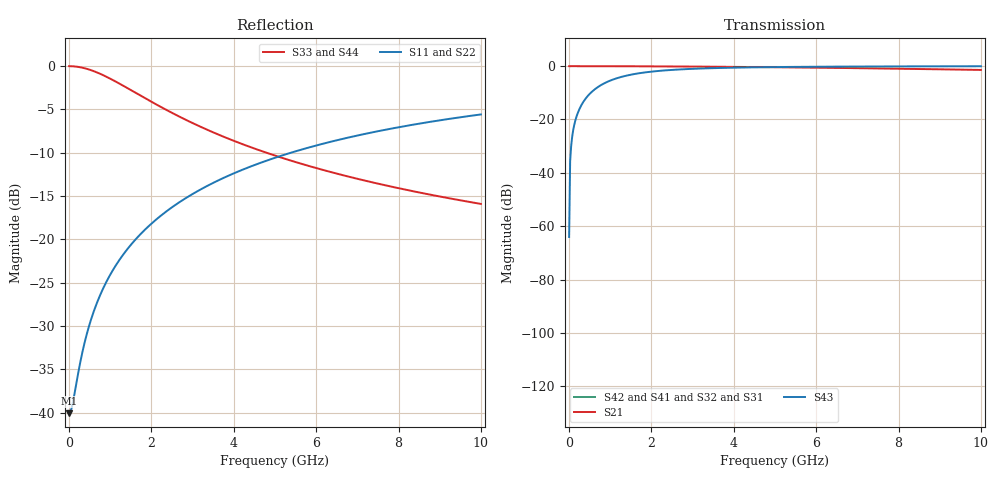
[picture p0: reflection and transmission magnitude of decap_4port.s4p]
! Synthetic 4-port: signal pi (ports 1-2) + decap pi (ports 3-4)
! R_series = 1.0 Ohm, L_series = 1e-09 H
! C_decap = 1e-12 F
! C_shunt = 1e-15 F
! Port[1] = sig_in
! Port[2] = sig_out
! Port[3] = decap_a
! Port[4] = decap_b
# HZ S RI R 50
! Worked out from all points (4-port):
!   401 points, 1 MHz to 10 GHz, reference 50 ohm
!   strongest paths, dB at 1 MHz, 2.501 GHz, 5 GHz, 7.5 GHz, 10 GHz:
!     S43: -64.0, -1.5, -0.4, -0.2, -0.1
!     S21: -0.1, -0.2, -0.5, -0.9, -1.5
!     S42: -, -, -, -, -
!     S41: -, -, -, -, -
!     S32: -, -, -, -, -
!     S31: -, -, -, -, -
!   lowest |S11| = -40.1 dB at 1 MHz (marker M1), VSWR 1.02, Z = 51 + j0.00625 ohm
!   |S11| at or under -10 dB: start of sweep to 5.383 GHz
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1000000  0.0099 6.13e-05  0.9901 -6.19e-05  0 0  0 0
         0.9901 -6.19e-05  0.0099 6.13e-05  0 0  0 0
         0 0  0 0  1 -0.000629  3.95e-07 0.000628
         0 0  0 0  3.95e-07 0.000628  1 -0.000629
7.59925e7  0.00992 0.00466  0.9901 -0.0047  0 0  0 0
           0.9901 -0.0047  0.00992 0.00466  0 0  0 0
           0 0  0 0  0.9977 -0.0477  0.00228 0.0476
           0 0  0 0  0.00228 0.0476  0.9977 -0.0477
2.0098e8  0.0101 0.0123  0.9899 -0.0124  0 0  0 0
          0.9899 -0.0124  0.0101 0.0123  0 0  0 0
          0 0  0 0  0.9843 -0.1244  0.0157 0.1243
          0 0  0 0  0.0157 0.1243  0.9843 -0.1244
5.50945e8  0.0111 0.0337  0.9889 -0.0341  0 0  0 0
           0.9889 -0.0341  0.0111 0.0337  0 0  0 0
           0 0  0 0  0.8929 -0.3094  0.1071 0.3091
           0 0  0 0  0.1071 0.3091  0.8929 -0.3094
1.125888e9  0.0147 0.0687  0.9853 -0.0694  0 0  0 0
            0.9853 -0.0694  0.0147 0.0687  0 0  0 0
            0 0  0 0  0.6662 -0.4719  0.3337 0.4712
            0 0  0 0  0.3337 0.4712  0.6662 -0.4719
3.675632e9  0.0591 0.214  0.9409 -0.2164  0 0  0 0
            0.9409 -0.2164  0.0591 0.214  0 0  0 0
            0 0  0 0  0.1578 -0.3657  0.8422 0.3634
            0 0  0 0  0.8422 0.3634  0.1578 -0.3657
1e10  0.287 0.4413  0.713 -0.4476  0 0  0 0
      0.713 -0.4476  0.287 0.4413  0 0  0 0
      0 0  0 0  0.0247 -0.1583  0.9753 0.152
      0 0  0 0  0.9753 0.152  0.0247 -0.1583
